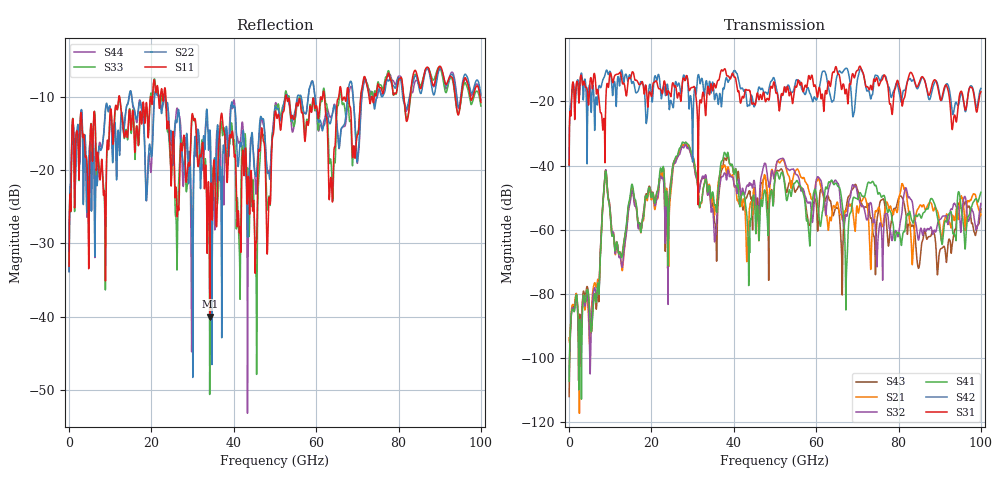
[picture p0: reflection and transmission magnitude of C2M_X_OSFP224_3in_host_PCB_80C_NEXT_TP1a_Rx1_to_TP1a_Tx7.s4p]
# GHz S RI R 45
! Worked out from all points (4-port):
!   4000 points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, 25 MHz to 100 GHz, reference 45 ohm
!   strongest paths, dB at 25 MHz, 25.02 GHz, 50.02 GHz, 75.03 GHz, 100 GHz:
!     S31: -39.8, -15.1, -15.7, -14.4, -17.0
!     S42: -40.1, -20.8, -13.9, -12.3, -15.9
!     S41: -107.1, -41.9, -43.8, -48.9, -48.3
!     S32: -103.6, -43.4, -42.4, -62.9, -51.8
!     S21: -93.7, -44.2, -41.8, -53.3, -55.1
!     S43: -111.9, -41.5, -44.0, -55.1, -53.5
!   lowest |S11| = -40.0 dB at 34.17 GHz (marker M1), VSWR 1.02, Z = 45.9 + j0.0438 ohm
!   |S11| at or under -10 dB: start of sweep to 12.08 GHz; 23.51 GHz to 52.54 GHz (29.03 GHz wide, 76.3 % of centre); 52.83 GHz to 61.09 GHz (8.261 GHz wide, 14.5 % of centre) (the widest 3 of 18)
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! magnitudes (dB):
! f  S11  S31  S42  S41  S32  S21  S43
! 25 MHz  -33.1  -39.8  -40.1  -107.1  -103.6  -93.7  -111.9
! 6.85 GHz  -17.8  -16.5  -21.1  -78.0  -78.9  -76.3  -80.1
! 8.85 GHz  -35.1  -24.4  -11.1  -41.9  -41.5  -41.8  -41.5
! 12.72 GHz  -12.2  -12.6  -10.2  -68.6  -70.8  -71.1  -68.1
! 27.8 GHz  -15.4  -12.7  -11.8  -32.8  -34.5  -33.8  -33.5
! 34.17 GHz  -40.0  -17.5  -13.8  -46.7  -48.0  -46.4  -48.4
! 100 GHz  -10.7  -17.0  -15.9  -48.3  -51.8  -55.1  -53.5
